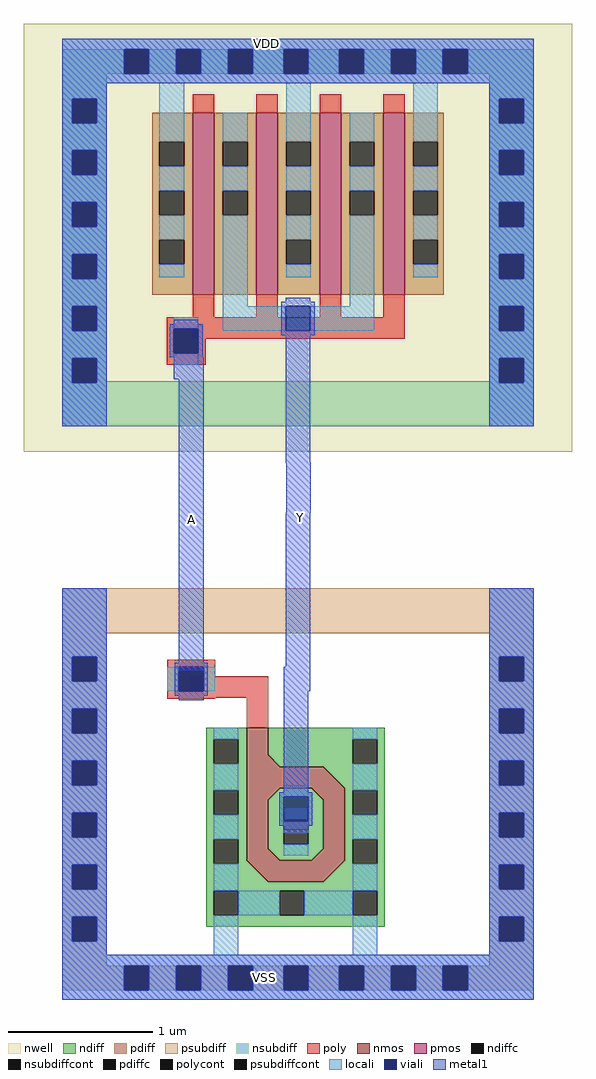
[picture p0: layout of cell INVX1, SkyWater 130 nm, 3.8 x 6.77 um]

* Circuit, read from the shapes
.subckt INVX1 VSS VDD A Y
XM1 VSS A Y VSS sky130_fd_pr__nfet_01v8 w=2.555 l=0.1479
XM2 Y A VDD VDD sky130_fd_pr__pfet_01v8 w=1.26 l=0.15 m=4
.ends

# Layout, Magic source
magic
tech sky130A
magscale 1 2
<< nwell >>
rect 84 1264 508 1353
rect 84 941 507 1264
rect 84 759 508 941
<< psubdiff >>
rect 31 508 561 570
rect 31 13 55 47
rect 89 13 127 47
rect 161 13 199 47
rect 233 13 276 47
rect 310 13 353 47
rect 387 13 425 47
rect 459 13 497 47
rect 531 13 561 47
<< nsubdiff >>
rect 31 1283 55 1317
rect 89 1283 127 1317
rect 161 1283 199 1317
rect 233 1283 276 1317
rect 310 1283 353 1317
rect 387 1283 425 1317
rect 459 1283 497 1317
rect 531 1283 561 1317
rect 31 795 561 857
<< psubdiffcont >>
rect 55 13 89 47
rect 127 13 161 47
rect 199 13 233 47
rect 276 13 310 47
rect 353 13 387 47
rect 425 13 459 47
rect 497 13 531 47
<< nsubdiffcont >>
rect 55 1283 89 1317
rect 127 1283 161 1317
rect 199 1283 233 1317
rect 276 1283 310 1317
rect 353 1283 387 1317
rect 425 1283 459 1317
rect 497 1283 531 1317
<< poly >>
rect 147 418 255 448
rect 225 403 255 418
<< locali >>
rect 31 1317 561 1332
rect 31 1283 55 1317
rect 89 1283 127 1317
rect 161 1283 199 1317
rect 233 1283 276 1317
rect 310 1283 353 1317
rect 387 1283 425 1317
rect 459 1283 497 1317
rect 531 1283 561 1317
rect 31 1270 561 1283
rect 280 1269 314 1270
rect 192 961 226 1007
rect 368 961 402 1001
rect 192 927 402 961
rect 179 62 213 101
rect 372 62 406 101
rect 31 47 561 62
rect 31 13 55 47
rect 89 13 127 47
rect 161 13 199 47
rect 233 13 276 47
rect 310 13 353 47
rect 387 13 425 47
rect 459 13 497 47
rect 531 13 561 47
rect 31 0 561 13
<< viali >>
rect 55 1283 89 1317
rect 127 1283 161 1317
rect 199 1283 233 1317
rect 276 1283 310 1317
rect 353 1283 387 1317
rect 425 1283 459 1317
rect 497 1283 531 1317
rect 55 13 89 47
rect 127 13 161 47
rect 199 13 233 47
rect 276 13 310 47
rect 353 13 387 47
rect 425 13 459 47
rect 497 13 531 47
<< metal1 >>
rect 31 1317 561 1332
rect 31 1283 55 1317
rect 89 1283 127 1317
rect 161 1283 199 1317
rect 233 1283 276 1317
rect 310 1283 353 1317
rect 387 1283 425 1317
rect 459 1283 497 1317
rect 531 1283 561 1317
rect 31 1270 561 1283
rect 137 889 165 890
rect 131 456 165 889
rect 279 744 313 911
rect 280 675 314 744
rect 279 461 313 675
rect 276 427 313 461
rect 276 317 310 427
rect 31 47 561 62
rect 31 13 55 47
rect 89 13 127 47
rect 161 13 199 47
rect 233 13 276 47
rect 310 13 353 47
rect 387 13 425 47
rect 459 13 497 47
rect 531 13 561 47
rect 31 0 561 13
use pmos4  pmos4_0 pcells
transform 1 0 94 0 1 1228
box -36 -312 440 42
use poly_li1_contact_para  poly_li1_contact_para_0 pcells
transform 1 0 44 0 1 481
box 70 379 124 465
use diff_ring_side  diff_ring_side_1 pcells
transform 1 0 0 0 1 0
box -84 0 84 1353
use diff_ring_side  diff_ring_side_0
transform 1 0 592 0 1 0
box -84 0 84 1353
use li1_M1_contact_para_cent  li1_M1_contact_para_cent_0 pcells
transform 1 0 293 0 1 264
box -23 -33 23 53
use li1_M1_contact_perp_ext  li1_M1_contact_perp_ext_0 pcells
transform 1 0 296 0 1 944
box -23 -53 49 29
use nmos_top  nmos_top_0 pcells
transform -1 0 415 0 1 101
box -1 0 246 309
use poly_li1_contact_perp  poly_li1_contact_perp_0 pcells
transform -1 0 225 0 -1 896
box 44 399 110 481
<< labels >>
rlabel metal1 253 1325 253 1325 1 VDD
port 2 n
rlabel metal1 249 31 249 31 1 VSS
port 1 n
rlabel metal1 148 666 148 666 1 A
port 3 n
rlabel metal1 299 668 299 668 1 Y
port 4 n
<< end >>

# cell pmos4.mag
magic
tech sky130A
magscale 1 2
<< nwell >>
rect -36 -287 440 37
<< pmos >>
rect 56 -251 86 1
rect 144 -251 174 1
rect 232 -251 262 1
rect 320 -251 350 1
<< pdiff >>
rect 0 -39 56 1
rect 0 -73 10 -39
rect 44 -73 56 -39
rect 0 -107 56 -73
rect 0 -141 10 -107
rect 44 -141 56 -107
rect 0 -175 56 -141
rect 0 -209 10 -175
rect 44 -209 56 -175
rect 0 -251 56 -209
rect 86 -39 144 1
rect 86 -73 98 -39
rect 132 -73 144 -39
rect 86 -107 144 -73
rect 86 -141 98 -107
rect 132 -141 144 -107
rect 86 -251 144 -141
rect 174 -39 232 1
rect 174 -73 186 -39
rect 220 -73 232 -39
rect 174 -107 232 -73
rect 174 -141 186 -107
rect 220 -141 232 -107
rect 174 -175 232 -141
rect 174 -209 186 -175
rect 220 -209 232 -175
rect 174 -251 232 -209
rect 262 -39 320 1
rect 262 -73 274 -39
rect 308 -73 320 -39
rect 262 -107 320 -73
rect 262 -141 274 -107
rect 308 -141 320 -107
rect 262 -251 320 -141
rect 350 -39 404 1
rect 350 -73 362 -39
rect 396 -73 404 -39
rect 350 -107 404 -73
rect 350 -141 362 -107
rect 396 -141 404 -107
rect 350 -175 404 -141
rect 350 -209 362 -175
rect 396 -209 404 -175
rect 350 -251 404 -209
<< pdiffc >>
rect 10 -73 44 -39
rect 10 -141 44 -107
rect 10 -209 44 -175
rect 98 -73 132 -39
rect 98 -141 132 -107
rect 186 -73 220 -39
rect 186 -141 220 -107
rect 186 -209 220 -175
rect 274 -73 308 -39
rect 274 -141 308 -107
rect 362 -73 396 -39
rect 362 -141 396 -107
rect 362 -209 396 -175
<< poly >>
rect 56 1 86 27
rect 144 1 174 27
rect 232 1 262 27
rect 320 1 350 27
rect 56 -282 86 -251
rect 144 -282 174 -251
rect 232 -282 262 -251
rect 320 -282 350 -251
rect 56 -312 350 -282
<< locali >>
rect 10 -39 44 42
rect 10 -107 44 -73
rect 10 -175 44 -141
rect 10 -227 44 -209
rect 98 -39 132 1
rect 98 -107 132 -73
rect 98 -227 132 -141
rect 186 -39 220 42
rect 186 -107 220 -73
rect 186 -175 220 -141
rect 186 -227 220 -209
rect 274 -39 308 1
rect 274 -107 308 -73
rect 274 -227 308 -141
rect 362 -39 396 42
rect 362 -107 396 -73
rect 362 -175 396 -141
rect 362 -227 396 -209
<< end >>

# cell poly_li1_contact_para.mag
magic
tech sky130A
magscale 1 2
<< poly >>
rect 70 449 124 465
rect 70 415 80 449
rect 114 415 124 449
rect 70 399 124 415
<< polycont >>
rect 80 415 114 449
<< locali >>
rect 80 449 114 465
rect 80 399 114 415
<< viali >>
rect 80 415 114 449
<< metal1 >>
rect 80 455 114 461
rect 74 449 120 455
rect 74 415 80 449
rect 114 415 120 449
rect 74 409 120 415
rect 80 379 114 409
<< end >>

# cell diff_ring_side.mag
magic
tech sky130A
magscale 1 2
<< nwell >>
rect -84 759 84 1353
<< psubdiff >>
rect -31 475 31 570
rect -31 441 -17 475
rect 17 441 31 475
rect -31 403 31 441
rect -31 369 -17 403
rect 17 369 31 403
rect -31 331 31 369
rect -31 297 -17 331
rect 17 297 31 331
rect -31 259 31 297
rect -31 225 -17 259
rect 17 225 31 259
rect -31 187 31 225
rect -31 153 -17 187
rect 17 153 31 187
rect -31 115 31 153
rect -31 81 -17 115
rect 17 81 31 115
rect -31 13 31 81
<< nsubdiff >>
rect -31 1249 31 1317
rect -31 1215 -17 1249
rect 17 1215 31 1249
rect -31 1177 31 1215
rect -31 1143 -17 1177
rect 17 1143 31 1177
rect -31 1105 31 1143
rect -31 1071 -17 1105
rect 17 1071 31 1105
rect -31 1033 31 1071
rect -31 999 -17 1033
rect 17 999 31 1033
rect -31 961 31 999
rect -31 927 -17 961
rect 17 927 31 961
rect -31 889 31 927
rect -31 855 -17 889
rect 17 855 31 889
rect -31 795 31 855
<< psubdiffcont >>
rect -17 441 17 475
rect -17 369 17 403
rect -17 297 17 331
rect -17 225 17 259
rect -17 153 17 187
rect -17 81 17 115
<< nsubdiffcont >>
rect -17 1215 17 1249
rect -17 1143 17 1177
rect -17 1071 17 1105
rect -17 999 17 1033
rect -17 927 17 961
rect -17 855 17 889
<< locali >>
rect -31 1249 31 1332
rect -31 1215 -17 1249
rect 17 1215 31 1249
rect -31 1177 31 1215
rect -31 1143 -17 1177
rect 17 1143 31 1177
rect -31 1105 31 1143
rect -31 1071 -17 1105
rect 17 1071 31 1105
rect -31 1033 31 1071
rect -31 999 -17 1033
rect 17 999 31 1033
rect -31 961 31 999
rect -31 927 -17 961
rect 17 927 31 961
rect -31 889 31 927
rect -31 855 -17 889
rect 17 855 31 889
rect -31 795 31 855
rect -31 475 31 570
rect -31 441 -17 475
rect 17 441 31 475
rect -31 403 31 441
rect -31 369 -17 403
rect 17 369 31 403
rect -31 331 31 369
rect -31 297 -17 331
rect 17 297 31 331
rect -31 259 31 297
rect -31 225 -17 259
rect 17 225 31 259
rect -31 187 31 225
rect -31 153 -17 187
rect 17 153 31 187
rect -31 115 31 153
rect -31 81 -17 115
rect 17 81 31 115
rect -31 0 31 81
<< viali >>
rect -17 1215 17 1249
rect -17 1143 17 1177
rect -17 1071 17 1105
rect -17 999 17 1033
rect -17 927 17 961
rect -17 855 17 889
rect -17 441 17 475
rect -17 369 17 403
rect -17 297 17 331
rect -17 225 17 259
rect -17 153 17 187
rect -17 81 17 115
<< metal1 >>
rect -31 1249 31 1332
rect -31 1215 -17 1249
rect 17 1215 31 1249
rect -31 1177 31 1215
rect -31 1143 -17 1177
rect 17 1143 31 1177
rect -31 1105 31 1143
rect -31 1071 -17 1105
rect 17 1071 31 1105
rect -31 1033 31 1071
rect -31 999 -17 1033
rect 17 999 31 1033
rect -31 961 31 999
rect -31 927 -17 961
rect 17 927 31 961
rect -31 889 31 927
rect -31 855 -17 889
rect 17 855 31 889
rect -31 795 31 855
rect -31 475 31 570
rect -31 441 -17 475
rect 17 441 31 475
rect -31 403 31 441
rect -31 369 -17 403
rect 17 369 31 403
rect -31 331 31 369
rect -31 297 -17 331
rect 17 297 31 331
rect -31 259 31 297
rect -31 225 -17 259
rect 17 225 31 259
rect -31 187 31 225
rect -31 153 -17 187
rect 17 153 31 187
rect -31 115 31 153
rect -31 81 -17 115
rect 17 81 31 115
rect -31 0 31 81
<< end >>

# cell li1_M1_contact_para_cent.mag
magic
tech sky130A
magscale 1 2
<< locali >>
rect -17 17 17 33
rect -17 -33 17 -17
<< viali >>
rect -17 -17 17 17
<< metal1 >>
rect -17 23 17 53
rect -23 17 23 23
rect -23 -17 -17 17
rect 17 -17 23 17
rect -23 -23 23 -17
rect -17 -29 17 -23
<< end >>

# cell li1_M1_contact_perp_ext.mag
magic
tech sky130A
magscale 1 2
<< locali >>
rect 17 -17 49 17
<< viali >>
rect -17 -17 17 17
<< metal1 >>
rect -17 23 17 29
rect -23 17 23 23
rect -23 -17 -17 17
rect 17 -17 23 17
rect -23 -23 23 -17
rect -17 -53 17 -23
<< end >>

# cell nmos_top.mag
magic
tech sky130A
magscale 1 2
<< nmos >>
tri 144 222 160 238 se
rect 160 222 190 276
tri 54 192 84 222 se
rect 84 192 190 222
rect 54 92 84 192
tri 84 176 100 192 nw
tri 144 176 160 192 ne
tri 84 92 100 108 sw
tri 144 92 160 108 se
rect 160 92 190 192
tri 54 62 84 92 ne
rect 84 62 160 92
tri 160 62 190 92 nw
<< ndiff >>
rect -1 260 160 276
rect -1 226 9 260
rect 43 238 160 260
rect 43 226 144 238
rect -1 222 144 226
tri 144 222 160 238 nw
rect 190 260 246 276
rect 190 226 202 260
rect 236 226 246 260
rect -1 189 54 222
tri 54 192 84 222 nw
rect -1 155 9 189
rect 43 155 54 189
rect -1 121 54 155
rect -1 87 9 121
rect 43 87 54 121
tri 84 176 100 192 se
rect 100 176 144 192
tri 144 176 160 192 sw
rect 84 148 160 176
rect 84 114 105 148
rect 139 114 160 148
rect 84 108 160 114
tri 84 92 100 108 ne
rect 100 92 144 108
tri 144 92 160 108 nw
rect 190 189 246 226
rect 190 155 202 189
rect 236 155 246 189
rect 190 121 246 155
rect -1 62 54 87
tri 54 62 84 92 sw
tri 160 62 190 92 se
rect 190 87 202 121
rect 236 87 246 121
rect 190 62 246 87
rect -1 50 246 62
rect -1 16 9 50
rect 43 16 110 50
rect 144 16 202 50
rect 236 16 246 50
rect -1 0 246 16
<< ndiffc >>
rect 9 226 43 260
rect 202 226 236 260
rect 9 155 43 189
rect 9 87 43 121
rect 105 114 139 148
rect 202 155 236 189
rect 202 87 236 121
rect 9 16 43 50
rect 110 16 144 50
rect 202 16 236 50
<< poly >>
rect 160 276 190 309
<< locali >>
rect 9 260 43 276
rect 9 189 43 226
rect 202 260 236 276
rect 202 189 236 226
rect 9 121 43 155
rect 105 148 139 164
rect 105 98 139 114
rect 202 121 236 155
rect 9 50 43 87
rect 202 50 236 87
rect 43 16 110 50
rect 144 16 202 50
rect 9 0 43 16
rect 202 0 236 16
<< end >>

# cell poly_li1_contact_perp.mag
magic
tech sky130A
magscale 1 2
<< poly >>
rect 44 469 110 479
rect 44 435 60 469
rect 94 435 110 469
rect 44 425 110 435
<< polycont >>
rect 60 435 94 469
<< locali >>
rect 44 435 60 469
rect 94 435 110 469
<< viali >>
rect 60 435 94 469
<< metal1 >>
rect 60 475 94 481
rect 54 469 100 475
rect 54 435 60 469
rect 94 435 100 469
rect 54 429 100 435
rect 60 399 94 429
<< end >>
